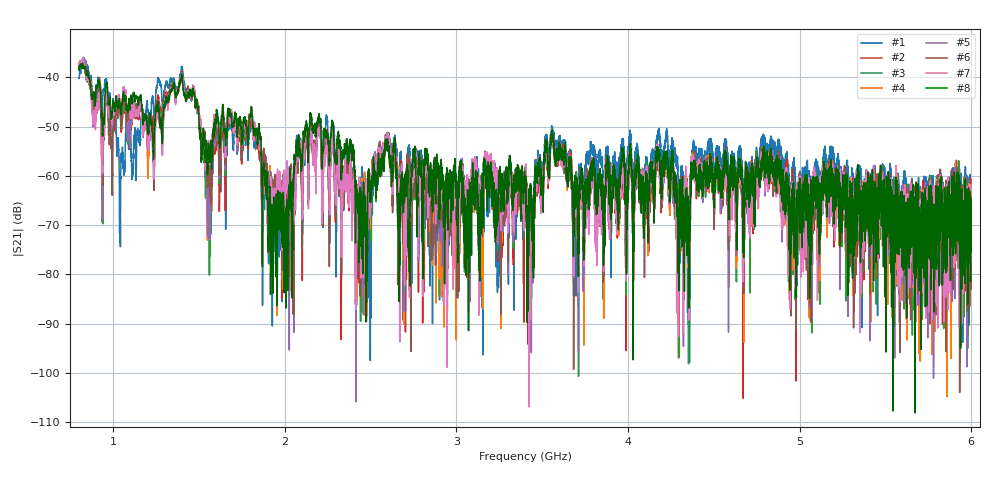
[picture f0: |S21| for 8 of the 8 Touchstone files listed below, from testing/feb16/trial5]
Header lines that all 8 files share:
!Keysight Technologies N9923A: A.08.15
!Timezone: (GMT-05:00) Eastern Time (US & Canada)
!Model: N9923A
!Serial: MY52412730
!GPS Latitude:
!GPS Longitude:
!GPS TimeStamp: 0001-01-01 00:00:00Z
!GPS Seconds Since Last Read: 0
!Correction: S11(ON Q)S21(ON Q)S12(ON Q)S22(ON Q)
!S2P File: Measurements:S11,S21,S12,S22:
# Hz S DB R 50
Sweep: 800 MHz to 6 GHz
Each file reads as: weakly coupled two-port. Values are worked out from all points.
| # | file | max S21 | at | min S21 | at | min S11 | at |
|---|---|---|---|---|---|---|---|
| 1 | test1.s2p | -36.14 dB | 831.2 MHz | -97.9 dB | 4.359 GHz | -40.9 dB | 4.787 GHz |
| 2 | test2.s2p | -36.60 dB | 822.4 MHz | -105.1 dB | 4.671 GHz | -35.9 dB | 891.5 MHz |
| 3 | test3.s2p | -36.63 dB | 821.8 MHz | -100.7 dB | 3.712 GHz | -32.2 dB | 898.3 MHz |
| 4 | test4.s2p | -36.13 dB | 822.4 MHz | -104.8 dB | 5.86 GHz | -31.6 dB | 907.1 MHz |
| 5 | test5.s2p | -35.91 dB | 827 MHz | -105.9 dB | 2.415 GHz | -31.4 dB | 907.6 MHz |
| 6 | test6.s2p | -37.32 dB | 822.4 MHz | -103.9 dB | 5.933 GHz | -31.8 dB | 907.6 MHz |
| 7 | test7.s2p | -36.06 dB | 821.8 MHz | -106.9 dB | 3.422 GHz | -31.8 dB | 908.7 MHz |
| 8 | test8.s2p | -37.13 dB | 821.3 MHz | -108.1 dB | 5.673 GHz | -31.6 dB | 908.2 MHz |
